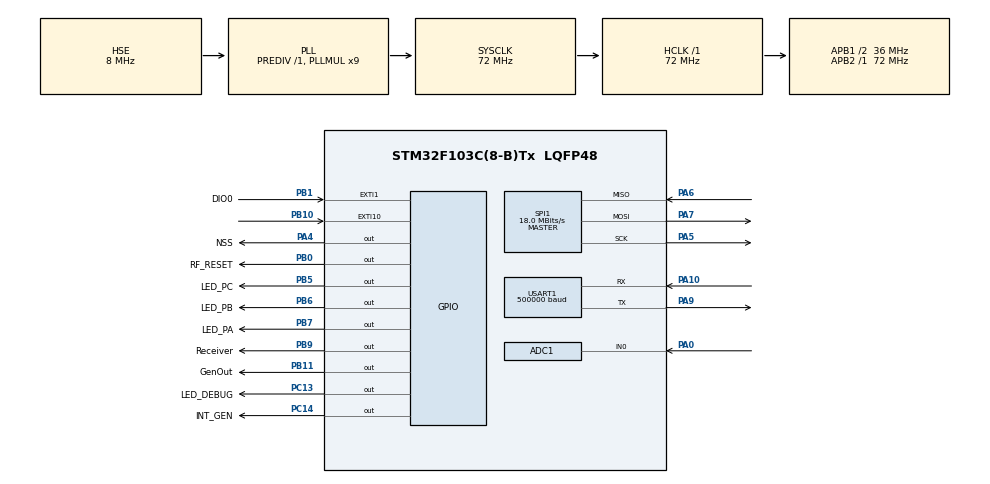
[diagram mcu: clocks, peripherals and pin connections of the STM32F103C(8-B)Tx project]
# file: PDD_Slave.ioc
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ADC1.Channel-1\#ChannelRegularConversion=ADC_CHANNEL_0
ADC1.ContinuousConvMode=ENABLE
ADC1.NbrOfConversionFlag=1
ADC1.Rank-1\#ChannelRegularConversion=1
ADC1.SamplingTime-1\#ChannelRegularConversion=ADC_SAMPLETIME_55CYCLES_5
ADC1.master=1
Dma.ADC1.0.Direction=DMA_PERIPH_TO_MEMORY
Dma.ADC1.0.Instance=DMA1_Channel1
Dma.ADC1.0.MemDataAlignment=DMA_MDATAALIGN_HALFWORD
Dma.ADC1.0.MemInc=DMA_MINC_ENABLE
Dma.ADC1.0.Mode=DMA_CIRCULAR
Dma.ADC1.0.PeriphDataAlignment=DMA_PDATAALIGN_HALFWORD
Dma.ADC1.0.PeriphInc=DMA_PINC_DISABLE
Dma.ADC1.0.Priority=DMA_PRIORITY_LOW
Dma.Request0=ADC1
Dma.Request1=USART1_TX
Dma.USART1_TX.1.Direction=DMA_MEMORY_TO_PERIPH
Dma.USART1_TX.1.Instance=DMA1_Channel4
Dma.USART1_TX.1.MemDataAlignment=DMA_MDATAALIGN_BYTE
Dma.USART1_TX.1.MemInc=DMA_MINC_ENABLE
Dma.USART1_TX.1.Mode=DMA_NORMAL
Dma.USART1_TX.1.PeriphDataAlignment=DMA_PDATAALIGN_BYTE
Dma.USART1_TX.1.PeriphInc=DMA_PINC_DISABLE
Dma.USART1_TX.1.Priority=DMA_PRIORITY_LOW
Mcu.Family=STM32F1
Mcu.Name=STM32F103C(8-B)Tx
Mcu.Package=LQFP48
NVIC.DMA1_Channel1_IRQn=true\:0\:0\:false\:false\:true\:false\:true\:true
NVIC.DMA1_Channel4_IRQn=true\:0\:0\:false\:false\:true\:false\:true\:true
NVIC.EXTI15_10_IRQn=true\:0\:0\:false\:false\:true\:true\:true\:true
NVIC.EXTI1_IRQn=true\:0\:0\:false\:false\:true\:true\:true\:true
NVIC.PriorityGroup=NVIC_PRIORITYGROUP_4
NVIC.TIM1_UP_IRQn=true\:0\:0\:true\:false\:true\:true\:true\:true
NVIC.TIM3_IRQn=true\:1\:0\:true\:false\:true\:true\:true\:true
NVIC.USART1_IRQn=true\:0\:0\:false\:false\:true\:true\:true\:true
PA0-WKUP.Signal=ADCx_IN0
PA10.Mode=Asynchronous
PA10.Signal=USART1_RX
PA13.Mode=Serial_Wire
PA13.Signal=SYS_JTMS-SWDIO
PA14.Mode=Serial_Wire
PA14.Signal=SYS_JTCK-SWCLK
PA4.GPIO_Label=NSS
PA4.Signal=GPIO_Output
PA5.Mode=Full_Duplex_Master
PA5.Signal=SPI1_SCK
PA6.Mode=Full_Duplex_Master
PA6.Signal=SPI1_MISO
PA7.Mode=Full_Duplex_Master
PA7.Signal=SPI1_MOSI
PA9.Mode=Asynchronous
PA9.Signal=USART1_TX
PB0.GPIO_Label=RF_RESET
PB0.Signal=GPIO_Output
PB1.GPIO_Label=DIO0
PB1.GPIO_PuPd=GPIO_PULLDOWN
PB1.Signal=GPXTI1
PB10.GPIO_PuPd=GPIO_PULLDOWN
PB10.Signal=GPXTI10
PB11.GPIO_Label=GenOut
PB11.Signal=GPIO_Output
PB5.GPIO_Label=LED_PC
PB5.GPIO_PuPd=GPIO_PULLDOWN
PB5.Signal=GPIO_Output
PB6.GPIO_Label=LED_PB
PB6.GPIO_PuPd=GPIO_PULLDOWN
PB6.Signal=GPIO_Output
PB7.GPIO_Label=LED_PA
PB7.GPIO_PuPd=GPIO_PULLDOWN
PB7.Signal=GPIO_Output
PB9.GPIO_Label=Receiver
PB9.Signal=GPIO_Output
PC13-TAMPER-RTC.GPIO_Label=LED_DEBUG
PC13-TAMPER-RTC.Signal=GPIO_Output
PC14-OSC32_IN.GPIO_Label=INT_GEN
PC14-OSC32_IN.Signal=GPIO_Output
PD0-OSC_IN.Mode=HSE-External-Oscillator
PD0-OSC_IN.Signal=RCC_OSC_IN
PD1-OSC_OUT.Mode=HSE-External-Oscillator
PD1-OSC_OUT.Signal=RCC_OSC_OUT
ProjectManager.HeapSize=0x200
ProjectManager.StackSize=0x400
ProjectManager.TargetToolchain=MDK-ARM V5.32
RCC.ADCPresc=RCC_ADCPCLK2_DIV6
RCC.AHBFreq_Value=72000000
RCC.APB1CLKDivider=RCC_HCLK_DIV2
RCC.APB1Freq_Value=36000000
RCC.APB1TimFreq_Value=72000000
RCC.APB2Freq_Value=72000000
RCC.APB2TimFreq_Value=72000000
RCC.HCLKFreq_Value=72000000
RCC.PLLMUL=RCC_PLL_MUL9
RCC.PLLSourceVirtual=RCC_PLLSOURCE_HSE
RCC.SYSCLKFreq_VALUE=72000000
RCC.SYSCLKSource=RCC_SYSCLKSOURCE_PLLCLK
RCC.USBFreq_Value=72000000
SH.ADCx_IN0.0=ADC1_IN0,IN0
SPI1.BaudRatePrescaler=SPI_BAUDRATEPRESCALER_4
SPI1.CalculateBaudRate=18.0 MBits/s
SPI1.Direction=SPI_DIRECTION_2LINES
SPI1.Mode=SPI_MODE_MASTER
SPI1.VirtualType=VM_MASTER
TIM1.AutoReloadPreload=TIM_AUTORELOAD_PRELOAD_ENABLE
TIM1.Period=49
TIM1.Prescaler=71
TIM3.Prescaler=71
USART1.BaudRate=500000
USART1.VirtualMode=VM_ASYNC
VP_TIM1_VS_ClockSourceINT.Mode=Internal
VP_TIM3_VS_ClockSourceINT.Mode=Internal
board=custom

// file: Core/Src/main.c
/* USER CODE BEGIN Header */
/**
  ******************************************************************************
  * @file           : main.c
  * @brief          : Main program body
  ******************************************************************************
  * @attention
  *
  * Copyright (c) 2026 STMicroelectronics.
  * All rights reserved.
  *
  * This software is licensed under terms that can be found in the LICENSE file
  * in the root directory of this software component.
  * If no LICENSE file comes with this software, it is provided AS-IS.
  *
  ******************************************************************************
  */
/* USER CODE END Header */
#include "main.h"

/* USER CODE BEGIN Includes */

#include "LoRa.h"
#include <string.h>

#include <stdio.h>

/* USER CODE END Includes */

/* USER CODE BEGIN PD */

#define ON_LED_DEBUG( )	HAL_GPIO_WritePin(LED_DEBUG_GPIO_Port, LED_DEBUG_Pin, GPIO_PIN_RESET)
#define OFF_LED_DEBUG( )	HAL_GPIO_WritePin(LED_DEBUG_GPIO_Port, LED_DEBUG_Pin, GPIO_PIN_SET)

//#define ON_LED1( )	HAL_GPIO_WritePin(LED1_GPIO_Port, LED1_Pin, GPIO_PIN_RESET)
//#define OFF_LED1( )	HAL_GPIO_WritePin(LED1_GPIO_Port, LED1_Pin, GPIO_PIN_SET)

#define ON_LED_PA( )	HAL_GPIO_WritePin(LED_PA_GPIO_Port, LED_PA_Pin, GPIO_PIN_SET);
#define OFF_LED_PA( )	HAL_GPIO_WritePin(LED_PA_GPIO_Port, LED_PA_Pin, GPIO_PIN_RESET);

#define ON_LED_PB( )	HAL_GPIO_WritePin(LED_PB_GPIO_Port, LED_PB_Pin, GPIO_PIN_SET);
#define OFF_LED_PB( )	HAL_GPIO_WritePin(LED_PB_GPIO_Port, LED_PB_Pin, GPIO_PIN_RESET);

#define ON_LED_PC( )	HAL_GPIO_WritePin(LED_PC_GPIO_Port, LED_PC_Pin, GPIO_PIN_SET);
#define OFF_LED_PC( )	HAL_GPIO_WritePin(LED_PC_GPIO_Port, LED_PC_Pin, GPIO_PIN_RESET);

#define MA_SIZE 5

typedef struct
{
    uint16_t buf[MA_SIZE];
    uint32_t sum;
    uint8_t index;
} MA_Filter_t;

#define pA_L   6000
#define pA_H   8000

#define pB_L   1900
#define pB_H   867

#define pC_L   1367
#define pC_H   1567

#define ZERO_PS 1971

/* USER CODE END PD */

ADC_HandleTypeDef hadc1;
DMA_HandleTypeDef hdma_adc1;

SPI_HandleTypeDef hspi1;

TIM_HandleTypeDef htim1;
TIM_HandleTypeDef htim3;

UART_HandleTypeDef huart1;
DMA_HandleTypeDef hdma_usart1_tx;

/* USER CODE BEGIN PV */
uint32_t tick = 0;
volatile uint32_t cnt_timetick = 0;

uint32_t cycle = 20000;

LoRa vLoRa;

uint8_t TX_Lora_buff[12];
uint8_t RX_LoRa_buff[12];

uint8_t send_ok = 0;
uint16_t num_RX_irq_LoRa = 0;
uint8_t flag_Lora_Rx = 0;

uint16_t config_lora = 0xFA;

		uint16_t recOK = 0;

		uint32_t last_zc = 0;
		uint32_t now_zc = 0;
		uint32_t interval_zc = 0;

uint16_t adc_raw_pS = 0;
uint16_t adc_filtered_pS = 0;

uint16_t pS_cur = 0;
uint16_t pS_prev = 0;

volatile uint32_t ovf_tim3 = 0;

uint8_t flag_tx_log = 0;

char uart_tx_log[100];

uint32_t stt = 0;

uint16_t log_buff[1000];
uint16_t log_index = 0;

volatile uint8_t flag_cnt_50us = 0;

uint32_t tx_time = 0;
uint32_t rx_time = 0;
uint32_t deltaT = 0;
uint32_t LN = 0;

uint32_t latency = 0;

volatile uint8_t flag_get_zero = 0;
uint16_t offset_ZpS = 0;

uint16_t delta_pA = 0;
	uint16_t delta_pB = 0;
		uint16_t delta_pC = 0;

		  MA_Filter_t adcFilter_pS;

/* USER CODE END PV */

void SystemClock_Config(void);
static void MX_GPIO_Init(void);
static void MX_DMA_Init(void);
static void MX_TIM1_Init(void);
static void MX_USART1_UART_Init(void);
static void MX_ADC1_Init(void);
static void MX_SPI1_Init(void);
static void MX_TIM3_Init(void);
/* USER CODE BEGIN PFP */
void MA_Init(MA_Filter_t *f, uint16_t init_value)
{
    f->sum = 0;
    f->index = 0;

    for(int i=0; i<MA_SIZE; i++)
    {
        f->buf[i] = init_value;
        f->sum += init_value;
    }
}

uint16_t MA_Update(MA_Filter_t *f, uint16_t sample)
{
    f->sum -= f->buf[f->index];
    f->buf[f->index] = sample;
    f->sum += sample;
    f->index++;

    if(f->index >= MA_SIZE)
        f->index = 0;

    return f->sum / MA_SIZE;
}

static inline uint32_t GetTimeUs(){
  uint32_t ovf1, ovf2;
  uint32_t cnt;

  do {
    ovf1 = ovf_tim3;
    cnt = TIM3->CNT;
    ovf2 = ovf_tim3;
  } while (ovf1 != ovf2); // Guard against rollover during reading

  return (ovf1 << 16) + cnt;
}

void HAL_TIM_PeriodElapsedCallback(TIM_HandleTypeDef *htim)
{
  if (htim->Instance == TIM1)
  {
    cnt_timetick++;
		flag_cnt_50us++;

		if(flag_cnt_50us >= 2)    // 50us or 100us
    {
      flag_cnt_50us = 0;
      //flag_tx_log = 1;
      adc_filtered_pS = MA_Update(&adcFilter_pS, adc_raw_pS);

      pS_cur = adc_filtered_pS;

      if(pS_cur != 0 && pS_prev != 0)
      {
          if(pS_prev <= ZERO_PS && pS_cur > ZERO_PS)
          {
              //HAL_GPIO_WritePin(GenOut_GPIO_Port, GenOut_Pin, GPIO_PIN_SET);
              now_zc = GetTimeUs();
              interval_zc = now_zc - last_zc;
              last_zc = now_zc;
							//flag_tx_log = 1;
          }
      }

      pS_prev = pS_cur;
    }
  }
  if(htim->Instance == TIM3)
  {
    ovf_tim3++;
  }
}

void HAL_GPIO_EXTI_Callback(uint16_t GPIO_Pin)
	{
		/* Prevent unused argument(s) compilation warning */
		UNUSED(GPIO_Pin);

		if(GPIO_Pin == vLoRa.DIO0_pin)
		{
			num_RX_irq_LoRa++;
			flag_Lora_Rx = 1;
      rx_time = GetTimeUs();
		}
//		if(GPIO_Pin == GPIO_PIN_10)
//		{
//			tx_time = GetTimeUs();
//		}

	}

/* USER CODE END PFP */

int main(void)
{

  /* MCU Configuration--------------------------------------------------------*/

  /* Reset of all peripherals, Initializes the Flash interface and the Systick. */
  HAL_Init();

  /* Configure the system clock */
  SystemClock_Config();

  /* Initialize all configured peripherals */
  MX_GPIO_Init();
  MX_DMA_Init();
  MX_TIM1_Init();
  MX_USART1_UART_Init();
  MX_ADC1_Init();
  MX_SPI1_Init();
  MX_TIM3_Init();
  /* USER CODE BEGIN 2 */

	 HAL_GPIO_WritePin(LED_DEBUG_GPIO_Port, LED_DEBUG_Pin, GPIO_PIN_RESET);
	 ON_LED_PA();
	  ON_LED_PB();
	    ON_LED_PC();

	Lora_Init(&vLoRa, &hspi1, 808);
	LoRa_reset(&vLoRa);

	config_lora = LoRa_Config(&vLoRa);

	while(config_lora!=0x00C8){
			HAL_GPIO_WritePin(LED_DEBUG_GPIO_Port, LED_DEBUG_Pin, GPIO_PIN_RESET);

	}
	HAL_GPIO_WritePin(LED_DEBUG_GPIO_Port, LED_DEBUG_Pin, GPIO_PIN_SET);

	LoRa_startReceiving(&vLoRa);

  HAL_TIM_Base_Start_IT(&htim1);
  HAL_TIM_Base_Start_IT(&htim3);

  HAL_ADCEx_Calibration_Start(&hadc1);
	HAL_ADC_Start_DMA(&hadc1, (uint32_t*)&adc_raw_pS, 1);

  MA_Init(&adcFilter_pS, ZERO_PS);

	HAL_GPIO_WritePin(GenOut_GPIO_Port, GenOut_Pin, GPIO_PIN_RESET);

	HAL_GPIO_WritePin(LED_PA_GPIO_Port, LED_PA_Pin, GPIO_PIN_RESET);
	OFF_LED_PA();
	  OFF_LED_PB();
	    OFF_LED_PC();
  /* USER CODE END 2 */

  /* Infinite loop */
  while (1)
  {

    /* USER CODE BEGIN 3 */

			tick++;

		if(cnt_timetick >= cycle)
    {
      cnt_timetick = 0;
			//HAL_GPIO_TogglePin(LED_DEBUG_GPIO_Port, LED_DEBUG_Pin);
    }

		// code mach receiver
    if(flag_Lora_Rx == 1)
    {
      flag_Lora_Rx = 0;
			send_ok = LoRa_receive(&vLoRa, (uint8_t*)RX_LoRa_buff, 5);

      uint8_t checksum = RX_LoRa_buff[0] + RX_LoRa_buff[1] + RX_LoRa_buff[2] + RX_LoRa_buff[3];

      if(RX_LoRa_buff[0] == 0xAA && checksum == RX_LoRa_buff[4])
      {
          HAL_GPIO_TogglePin(LED_DEBUG_GPIO_Port, LED_DEBUG_Pin);
          //rx_time = GetTimeUs();
          deltaT = (rx_time - last_zc)%20000;
					LN = (rx_time - last_zc)/20000;
					latency = rx_time - tx_time;

					delta_pA = RX_LoRa_buff[1]*100;
					delta_pB = RX_LoRa_buff[2]*100;
					delta_pC = RX_LoRa_buff[3]*100;

          if((deltaT > 0 && deltaT < 6000) || (deltaT > 19500 && deltaT < 20000))
          {
            ON_LED_PA();
						OFF_LED_PB();
						OFF_LED_PC();
          }
          else if(deltaT > 8000 && deltaT < 12000)
          {
						if(delta_pC > delta_pB){
							OFF_LED_PA();
							ON_LED_PB();
							OFF_LED_PC();
						}
						else{
							OFF_LED_PA();
							OFF_LED_PB();
							ON_LED_PC();
						}

          }
          else if(deltaT > 14000 && deltaT < 18000)
          {
            if(delta_pC > delta_pB){
							OFF_LED_PA();
							OFF_LED_PB();
							ON_LED_PC();
						}
						else{
							OFF_LED_PA();
							ON_LED_PB();
							OFF_LED_PC();
						}
          }
					else{
						OFF_LED_PA();
							OFF_LED_PB();
							OFF_LED_PC ();
					}

					//flag_tx_log = 1;

      }
    }

    if(flag_tx_log == 1){
			flag_tx_log = 0;
			//sprintf(uart_tx_log, "%u %u %u\n",++stt, adc_raw_pS, adc_filtered_pS);

			//sprintf(uart_tx_log, "%u %u %u %u\n",++stt, adc_raw_pS, adc_filtered_pS, interval_zc);

			sprintf(uart_tx_log, "%u %u %u %u %u\n",++stt, deltaT, LN, delta_pB, delta_pC);

			HAL_UART_Transmit_DMA(&huart1, (uint8_t*)uart_tx_log, strlen(uart_tx_log));
		}

		if(flag_get_zero){
			flag_get_zero = 0;

			uint32_t sum = 0;
			for(uint16_t i=0; i<1000; i++){
				sum+= adc_raw_pS;
				HAL_Delay(1);
			}
			offset_ZpS = sum/1000;
		}

  }
  /* USER CODE END 3 */
}

void SystemClock_Config(void)
{
  RCC_OscInitTypeDef RCC_OscInitStruct = {0};
  RCC_ClkInitTypeDef RCC_ClkInitStruct = {0};
  RCC_PeriphCLKInitTypeDef PeriphClkInit = {0};

  /** Initializes the RCC Oscillators according to the specified parameters
  * in the RCC_OscInitTypeDef structure.
  */
  RCC_OscInitStruct.OscillatorType = RCC_OSCILLATORTYPE_HSE;
  RCC_OscInitStruct.HSEState = RCC_HSE_ON;
  RCC_OscInitStruct.HSEPredivValue = RCC_HSE_PREDIV_DIV1;
  RCC_OscInitStruct.HSIState = RCC_HSI_ON;
  RCC_OscInitStruct.PLL.PLLState = RCC_PLL_ON;
  RCC_OscInitStruct.PLL.PLLSource = RCC_PLLSOURCE_HSE;
  RCC_OscInitStruct.PLL.PLLMUL = RCC_PLL_MUL9;
  if (HAL_RCC_OscConfig(&RCC_OscInitStruct) != HAL_OK)
  {
    Error_Handler();
  }

  /** Initializes the CPU, AHB and APB buses clocks
  */
  RCC_ClkInitStruct.ClockType = RCC_CLOCKTYPE_HCLK|RCC_CLOCKTYPE_SYSCLK
                              |RCC_CLOCKTYPE_PCLK1|RCC_CLOCKTYPE_PCLK2;
  RCC_ClkInitStruct.SYSCLKSource = RCC_SYSCLKSOURCE_PLLCLK;
  RCC_ClkInitStruct.AHBCLKDivider = RCC_SYSCLK_DIV1;
  RCC_ClkInitStruct.APB1CLKDivider = RCC_HCLK_DIV2;
  RCC_ClkInitStruct.APB2CLKDivider = RCC_HCLK_DIV1;

  if (HAL_RCC_ClockConfig(&RCC_ClkInitStruct, FLASH_LATENCY_2) != HAL_OK)
  {
    Error_Handler();
  }
  PeriphClkInit.PeriphClockSelection = RCC_PERIPHCLK_ADC;
  PeriphClkInit.AdcClockSelection = RCC_ADCPCLK2_DIV6;
  if (HAL_RCCEx_PeriphCLKConfig(&PeriphClkInit) != HAL_OK)
  {
    Error_Handler();
  }
}

static void MX_ADC1_Init(void)
{

  ADC_ChannelConfTypeDef sConfig = {0};

  /** Common config
  */
  hadc1.Instance = ADC1;
  hadc1.Init.ScanConvMode = ADC_SCAN_DISABLE;
  hadc1.Init.ContinuousConvMode = ENABLE;
  hadc1.Init.DiscontinuousConvMode = DISABLE;
  hadc1.Init.ExternalTrigConv = ADC_SOFTWARE_START;
  hadc1.Init.DataAlign = ADC_DATAALIGN_RIGHT;
  hadc1.Init.NbrOfConversion = 1;
  if (HAL_ADC_Init(&hadc1) != HAL_OK)
  {
    Error_Handler();
  }

  /** Configure Regular Channel
  */
  sConfig.Channel = ADC_CHANNEL_0;
  sConfig.Rank = ADC_REGULAR_RANK_1;
  sConfig.SamplingTime = ADC_SAMPLETIME_55CYCLES_5;
  if (HAL_ADC_ConfigChannel(&hadc1, &sConfig) != HAL_OK)
  {
    Error_Handler();
  }

}

static void MX_SPI1_Init(void)
{

  /* SPI1 parameter configuration*/
  hspi1.Instance = SPI1;
  hspi1.Init.Mode = SPI_MODE_MASTER;
  hspi1.Init.Direction = SPI_DIRECTION_2LINES;
  hspi1.Init.DataSize = SPI_DATASIZE_8BIT;
  hspi1.Init.CLKPolarity = SPI_POLARITY_LOW;
  hspi1.Init.CLKPhase = SPI_PHASE_1EDGE;
  hspi1.Init.NSS = SPI_NSS_SOFT;
  hspi1.Init.BaudRatePrescaler = SPI_BAUDRATEPRESCALER_4;
  hspi1.Init.FirstBit = SPI_FIRSTBIT_MSB;
  hspi1.Init.TIMode = SPI_TIMODE_DISABLE;
  hspi1.Init.CRCCalculation = SPI_CRCCALCULATION_DISABLE;
  hspi1.Init.CRCPolynomial = 10;
  if (HAL_SPI_Init(&hspi1) != HAL_OK)
  {
    Error_Handler();
  }

}

static void MX_TIM1_Init(void)
{

  TIM_ClockConfigTypeDef sClockSourceConfig = {0};
  TIM_MasterConfigTypeDef sMasterConfig = {0};

  htim1.Instance = TIM1;
  htim1.Init.Prescaler = 71;
  htim1.Init.CounterMode = TIM_COUNTERMODE_UP;
  htim1.Init.Period = 49;
  htim1.Init.ClockDivision = TIM_CLOCKDIVISION_DIV1;
  htim1.Init.RepetitionCounter = 0;
  htim1.Init.AutoReloadPreload = TIM_AUTORELOAD_PRELOAD_ENABLE;
  if (HAL_TIM_Base_Init(&htim1) != HAL_OK)
  {
    Error_Handler();
  }
  sClockSourceConfig.ClockSource = TIM_CLOCKSOURCE_INTERNAL;
  if (HAL_TIM_ConfigClockSource(&htim1, &sClockSourceConfig) != HAL_OK)
  {
    Error_Handler();
  }
  sMasterConfig.MasterOutputTrigger = TIM_TRGO_RESET;
  sMasterConfig.MasterSlaveMode = TIM_MASTERSLAVEMODE_DISABLE;
  if (HAL_TIMEx_MasterConfigSynchronization(&htim1, &sMasterConfig) != HAL_OK)
  {
    Error_Handler();
  }

}

static void MX_TIM3_Init(void)
{

  TIM_ClockConfigTypeDef sClockSourceConfig = {0};
  TIM_MasterConfigTypeDef sMasterConfig = {0};

  htim3.Instance = TIM3;
  htim3.Init.Prescaler = 71;
  htim3.Init.CounterMode = TIM_COUNTERMODE_UP;
  htim3.Init.Period = 65535;
  htim3.Init.ClockDivision = TIM_CLOCKDIVISION_DIV1;
  htim3.Init.AutoReloadPreload = TIM_AUTORELOAD_PRELOAD_DISABLE;
  if (HAL_TIM_Base_Init(&htim3) != HAL_OK)
  {
    Error_Handler();
  }
  sClockSourceConfig.ClockSource = TIM_CLOCKSOURCE_INTERNAL;
  if (HAL_TIM_ConfigClockSource(&htim3, &sClockSourceConfig) != HAL_OK)
  {
    Error_Handler();
  }
  sMasterConfig.MasterOutputTrigger = TIM_TRGO_RESET;
  sMasterConfig.MasterSlaveMode = TIM_MASTERSLAVEMODE_DISABLE;
  if (HAL_TIMEx_MasterConfigSynchronization(&htim3, &sMasterConfig) != HAL_OK)
  {
    Error_Handler();
  }

}

static void MX_USART1_UART_Init(void)
{

  huart1.Instance = USART1;
  huart1.Init.BaudRate = 500000;
  huart1.Init.WordLength = UART_WORDLENGTH_8B;
  huart1.Init.StopBits = UART_STOPBITS_1;
  huart1.Init.Parity = UART_PARITY_NONE;
  huart1.Init.Mode = UART_MODE_TX_RX;
  huart1.Init.HwFlowCtl = UART_HWCONTROL_NONE;
  huart1.Init.OverSampling = UART_OVERSAMPLING_16;
  if (HAL_UART_Init(&huart1) != HAL_OK)
  {
    Error_Handler();
  }

}

static void MX_DMA_Init(void)
{

  /* DMA controller clock enable */
  __HAL_RCC_DMA1_CLK_ENABLE();

  /* DMA interrupt init */
  /* DMA1_Channel1_IRQn interrupt configuration */
  HAL_NVIC_SetPriority(DMA1_Channel1_IRQn, 0, 0);
  HAL_NVIC_EnableIRQ(DMA1_Channel1_IRQn);
  /* DMA1_Channel4_IRQn interrupt configuration */
  HAL_NVIC_SetPriority(DMA1_Channel4_IRQn, 0, 0);
  HAL_NVIC_EnableIRQ(DMA1_Channel4_IRQn);

}

static void MX_GPIO_Init(void)
{
  GPIO_InitTypeDef GPIO_InitStruct = {0};

  /* GPIO Ports Clock Enable */
  __HAL_RCC_GPIOC_CLK_ENABLE();
  __HAL_RCC_GPIOD_CLK_ENABLE();
  __HAL_RCC_GPIOA_CLK_ENABLE();
  __HAL_RCC_GPIOB_CLK_ENABLE();

  /*Configure GPIO pin Output Level */
  HAL_GPIO_WritePin(GPIOC, LED_DEBUG_Pin|INT_GEN_Pin, GPIO_PIN_RESET);

  /*Configure GPIO pin Output Level */
  HAL_GPIO_WritePin(NSS_GPIO_Port, NSS_Pin, GPIO_PIN_RESET);

  /*Configure GPIO pin Output Level */
  HAL_GPIO_WritePin(GPIOB, RF_RESET_Pin|GenOut_Pin|LED_PC_Pin|LED_PB_Pin
                          |LED_PA_Pin|Receiver_Pin, GPIO_PIN_RESET);

  /*Configure GPIO pins : LED_DEBUG_Pin INT_GEN_Pin */
  GPIO_InitStruct.Pin = LED_DEBUG_Pin|INT_GEN_Pin;
  GPIO_InitStruct.Mode = GPIO_MODE_OUTPUT_PP;
  GPIO_InitStruct.Pull = GPIO_NOPULL;
  GPIO_InitStruct.Speed = GPIO_SPEED_FREQ_LOW;
  HAL_GPIO_Init(GPIOC, &GPIO_InitStruct);

  /*Configure GPIO pin : NSS_Pin */
  GPIO_InitStruct.Pin = NSS_Pin;
  GPIO_InitStruct.Mode = GPIO_MODE_OUTPUT_PP;
  GPIO_InitStruct.Pull = GPIO_NOPULL;
  GPIO_InitStruct.Speed = GPIO_SPEED_FREQ_LOW;
  HAL_GPIO_Init(NSS_GPIO_Port, &GPIO_InitStruct);

  /*Configure GPIO pins : RF_RESET_Pin GenOut_Pin Receiver_Pin */
  GPIO_InitStruct.Pin = RF_RESET_Pin|GenOut_Pin|Receiver_Pin;
  GPIO_InitStruct.Mode = GPIO_MODE_OUTPUT_PP;
  GPIO_InitStruct.Pull = GPIO_NOPULL;
  GPIO_InitStruct.Speed = GPIO_SPEED_FREQ_LOW;
  HAL_GPIO_Init(GPIOB, &GPIO_InitStruct);

  /*Configure GPIO pins : DIO0_Pin PB10 */
  GPIO_InitStruct.Pin = DIO0_Pin|GPIO_PIN_10;
  GPIO_InitStruct.Mode = GPIO_MODE_IT_RISING;
  GPIO_InitStruct.Pull = GPIO_PULLDOWN;
  HAL_GPIO_Init(GPIOB, &GPIO_InitStruct);

  /*Configure GPIO pins : LED_PC_Pin LED_PB_Pin LED_PA_Pin */
  GPIO_InitStruct.Pin = LED_PC_Pin|LED_PB_Pin|LED_PA_Pin;
  GPIO_InitStruct.Mode = GPIO_MODE_OUTPUT_PP;
  GPIO_InitStruct.Pull = GPIO_PULLDOWN;
  GPIO_InitStruct.Speed = GPIO_SPEED_FREQ_LOW;
  HAL_GPIO_Init(GPIOB, &GPIO_InitStruct);

  /* EXTI interrupt init*/
  HAL_NVIC_SetPriority(EXTI1_IRQn, 0, 0);
  HAL_NVIC_EnableIRQ(EXTI1_IRQn);

  HAL_NVIC_SetPriority(EXTI15_10_IRQn, 0, 0);
  HAL_NVIC_EnableIRQ(EXTI15_10_IRQn);

}

void Error_Handler(void)
{
  __disable_irq();
  while (1)
  {
  }
}
